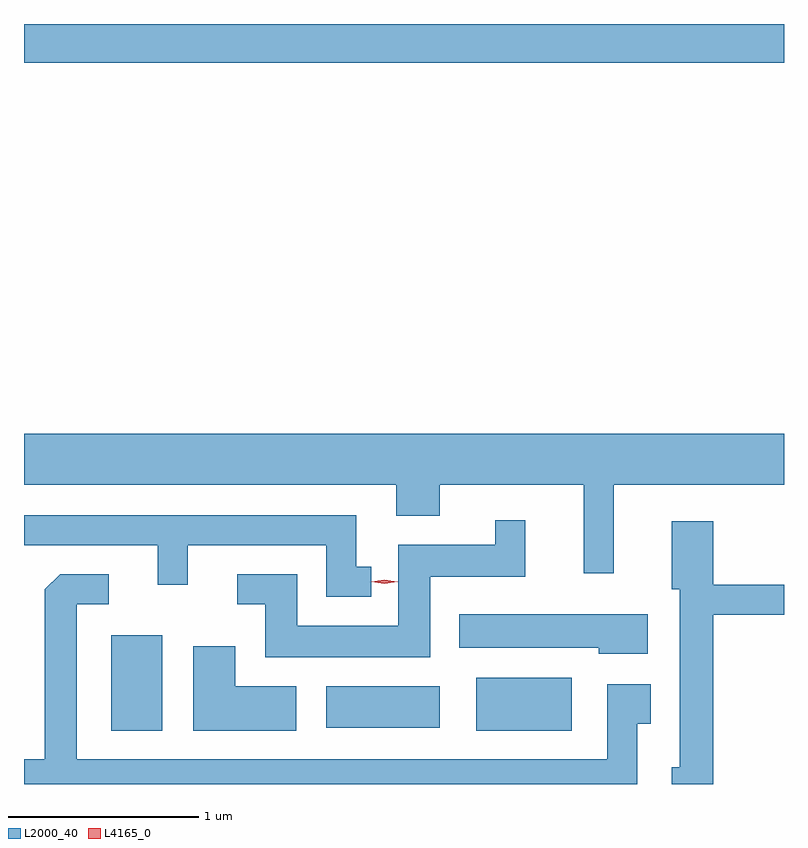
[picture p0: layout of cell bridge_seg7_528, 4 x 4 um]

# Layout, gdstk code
import gdstk
lib = gdstk.Library(unit=1e-6, precision=1e-09)
def R(c, l, rs):  # rectangles x0, y0, x1, y1
    for r in rs: c.add(gdstk.rectangle(r[:2], r[2:], *l))
def P(c, l, *ps):  # polygons
    for p in ps: c.add(gdstk.Polygon(p, *l))
L2000_40 = (2000, 40)
L4165_0 = (4165, 0)

bridge_seg7_528 = lib.new_cell('bridge_seg7_528')
R(bridge_seg7_528, L2000_40, [(937.161,1744.101,937.429,1744.604), (939.081,1744.101,939.584,1744.379), (938.291,1744.116,938.889,1744.334), (936.701,1747.616,940.701,1747.82)])
P(bridge_seg7_528, L2000_40, [(939.804,1745.396),(940.701,1745.396),(940.701,1745.664),(936.701,1745.664),(936.701,1745.396),(938.661,1745.396),(938.661,1745.231),(938.889,1745.231),(938.889,1745.396),(939.646,1745.396),(939.646,1744.928),(939.804,1744.928)],
  [(938.528,1744.964),(938.449,1744.964),(938.449,1745.234),(936.701,1745.234),(936.701,1745.076),(937.406,1745.076),(937.406,1744.868),(937.564,1744.868),(937.564,1745.076),(938.291,1745.076),(938.291,1744.806),(938.528,1744.806)],
  [(938.839,1744.911),(939.339,1744.911),(939.339,1745.208),(939.181,1745.208),(939.181,1745.079),(938.671,1745.079),(938.671,1744.654),(938.139,1744.654),(938.139,1744.924),(937.823,1744.924),(937.823,1744.766),(937.971,1744.766),(937.971,1744.486),(938.839,1744.486)],
  [(940.329,1744.711),(940.701,1744.711),(940.701,1744.869),(940.329,1744.869),(940.329,1745.204),(940.111,1745.204),(940.111,1744.846),(940.151,1744.846),(940.151,1743.909),(940.111,1743.909),(940.111,1743.82),(940.329,1743.82)],
  [(939.929,1744.136),(939.999,1744.136),(939.999,1744.344),(939.771,1744.344),(939.771,1743.949),(936.979,1743.949),(936.979,1744.766),(937.148,1744.766),(937.148,1744.924),(936.892,1744.924),(936.811,1744.844),(936.811,1743.949),(936.701,1743.949),(936.701,1743.82),(939.929,1743.82)],
  [(939.984,1744.714),(938.991,1744.714),(938.991,1744.536),(939.726,1744.536),(939.726,1744.506),(939.984,1744.506)],
  [(938.134,1744.334),(937.814,1744.334),(937.814,1744.544),(937.591,1744.544),(937.591,1744.101),(938.134,1744.101)])
P(bridge_seg7_528, L4165_0, [(938.598,1744.875),(938.529,1744.884),(938.529,1744.885),(938.529,1744.885),(938.598,1744.895),(938.668,1744.885),(938.668,1744.885),(938.668,1744.884)])

lib.write_gds('bridge_seg7_528.gds')
